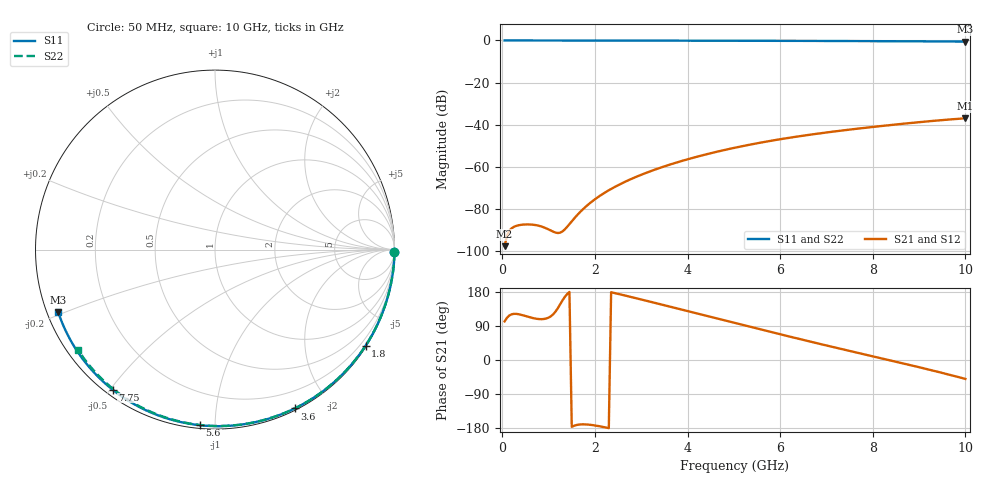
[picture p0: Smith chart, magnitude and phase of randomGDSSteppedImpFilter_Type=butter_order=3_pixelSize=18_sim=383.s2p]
! freq	dB(S11)	phase(S11)	dB(S12)	phase(S12)
!  dB(S21)	phase(S21)	dB(S22)	phase(S22)
!S-par simulation data
#  GHz  S  DB  R 50
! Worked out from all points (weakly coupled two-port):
!   200 points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, 50 MHz to 10 GHz, reference 50 ohm
!   highest |S21| = -37.00 dB at 10 GHz (marker M1); lowest = -97.8 dB at 50 MHz (marker M2)
!   lowest |S11| = -0.5 dB at 10 GHz (marker M3), VSWR 32.73, Z = 1.58 - j9.59 ohm
!   |S11| at or under -10 dB: nowhere
!   |S22| runs from -0.5 to 0.0 dB; largest |S21 - S12| = 0
!   S11 on the Smith chart (normalised r, x): 50 MHz: open; 1.8 GHz: 0.03, -3.42; 3.6 GHz: 0.02, -1.62; 5.6 GHz: 0.02, -0.92; 7.75 GHz: 0.02, -0.51; 10 GHz: 0.03, -0.19
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0.05  -0.00 -0.9  -97.78 101.9  -97.78 101.9  -0.00 -0.8
0.45  -0.01 -8.3  -87.52 117.9  -87.52 117.9  -0.01 -7.5
0.85  -0.02 -15.6  -88.47 107.8  -88.47 107.8  -0.02 -14.1
1.3  -0.03 -23.7  -90.76 157.3  -90.76 157.3  -0.03 -21.5
1.75  -0.04 -31.7  -80.05 -169.8  -80.05 -169.8  -0.04 -28.8
1.8  -0.04 -32.6  -79.04 -169.9  -79.04 -169.9  -0.04 -29.6
1.95  -0.04 -35.2  -76.32 -171.8  -76.32 -171.8  -0.04 -32.0
2.1  -0.05 -37.8  -73.95 -174.8  -73.95 -174.8  -0.04 -34.4
2.45  -0.06 -43.9  -69.38 176.0  -69.38 176.0  -0.05 -39.9
2.9  -0.07 -51.6  -64.74 162.7  -64.74 162.7  -0.06 -47.0
3.4  -0.08 -60.0  -60.59 147.5  -60.59 147.5  -0.07 -54.7
3.6  -0.09 -63.4  -59.14 141.4  -59.14 141.4  -0.08 -57.7
4.3  -0.11 -74.7  -54.71 120.0  -54.71 120.0  -0.10 -68.1
5.05  -0.13 -86.5  -50.85 97.0  -50.85 97.0  -0.12 -78.9
5.6  -0.16 -94.9  -48.48 80.1  -48.48 80.1  -0.14 -86.6
6.15  -0.18 -103.1  -46.42 63.4  -46.42 63.4  -0.17 -94.2
6.7  -0.22 -111.1  -44.63 47.1  -44.63 47.1  -0.20 -101.5
7.2  -0.25 -118.4  -43.18 32.5  -43.18 32.5  -0.23 -108.1
7.75  -0.29 -126.2  -41.73 16.8  -41.73 16.8  -0.27 -115.3
8.35  -0.35 -134.7  -40.28 -0.2  -40.28 -0.2  -0.32 -122.9
9.2  -0.44 -146.7  -38.43 -25.0  -38.43 -25.0  -0.40 -133.7
10  -0.53 -158.3  -37.00 -49.9  -37.00 -49.9  -0.48 -143.8
